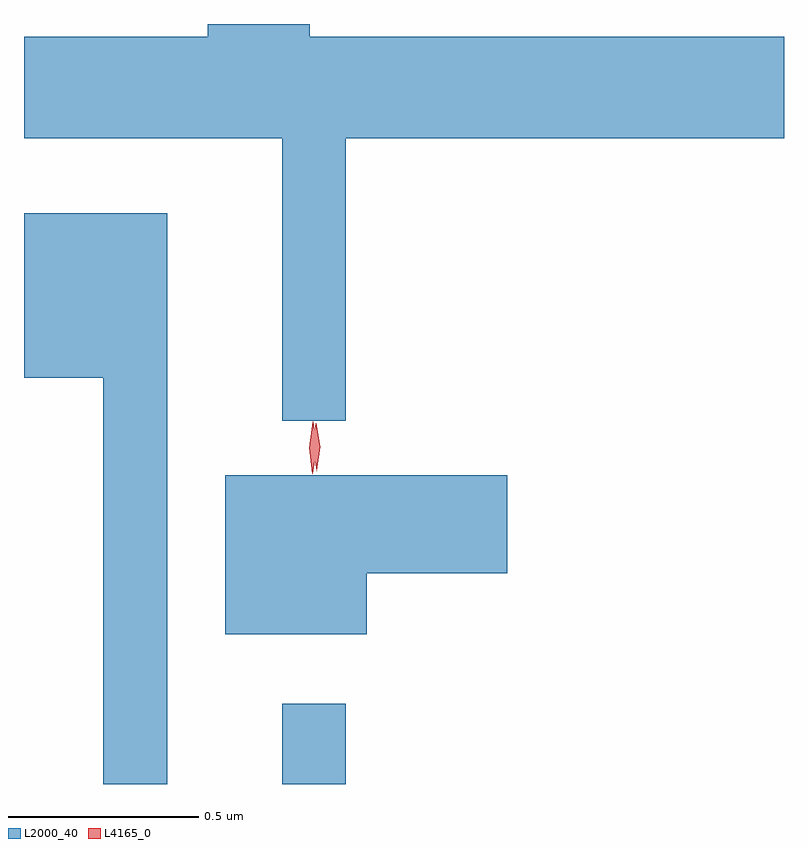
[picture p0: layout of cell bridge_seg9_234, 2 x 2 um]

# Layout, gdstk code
import gdstk
lib = gdstk.Library(unit=1e-6, precision=1e-09)
def R(c, l, rs):  # rectangles x0, y0, x1, y1
    for r in rs: c.add(gdstk.rectangle(r[:2], r[2:], *l))
def P(c, l, *ps):  # polygons
    for p in ps: c.add(gdstk.Polygon(p, *l))
L2000_40 = (2000, 40)
L4165_0 = (4165, 0)

bridge_seg9_234 = lib.new_cell('bridge_seg9_234')
R(bridge_seg9_234, L2000_40, [(1314.171,1979.017,1314.339,1979.228)])
P(bridge_seg9_234, L2000_40, [(1314.339,1980.716),(1315.492,1980.716),(1315.492,1980.984),(1314.244,1980.984),(1314.244,1981.017),(1313.976,1981.017),(1313.976,1980.984),(1313.492,1980.984),(1313.492,1980.716),(1314.171,1980.716),(1314.171,1979.973),(1314.339,1979.973)],
  [(1313.869,1980.519),(1313.492,1980.519),(1313.492,1980.086),(1313.701,1980.086),(1313.701,1979.017),(1313.869,1979.017)],
  [(1314.394,1979.571),(1314.764,1979.571),(1314.764,1979.829),(1314.021,1979.829),(1314.021,1979.411),(1314.394,1979.411)])
P(bridge_seg9_234, L4165_0, [(1314.262,1979.84),(1314.262,1979.841),(1314.252,1979.904),(1314.26,1979.966),(1314.261,1979.967),(1314.261,1979.966),(1314.272,1979.904),(1314.263,1979.841)],
  [(1314.251,1979.834),(1314.242,1979.902),(1314.252,1979.97),(1314.253,1979.97),(1314.253,1979.97),(1314.262,1979.902),(1314.252,1979.834),(1314.252,1979.834)])

lib.write_gds('bridge_seg9_234.gds')
